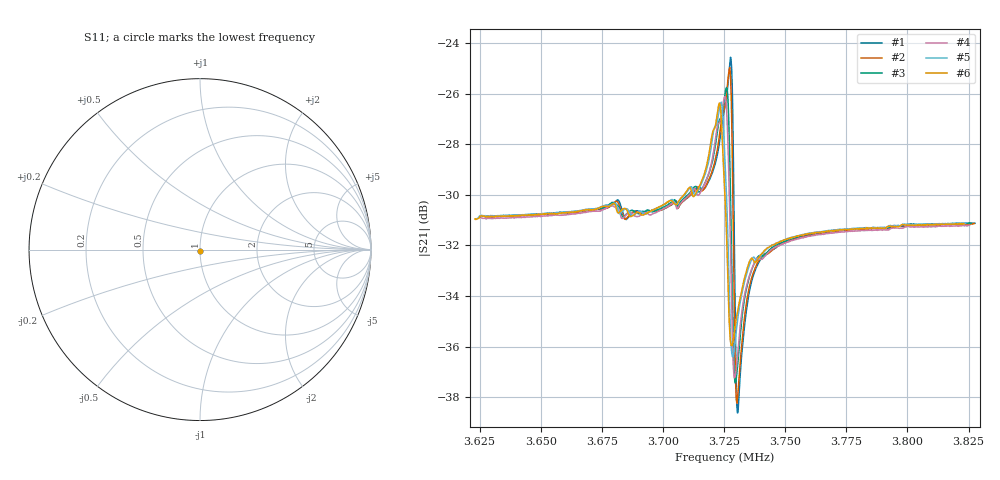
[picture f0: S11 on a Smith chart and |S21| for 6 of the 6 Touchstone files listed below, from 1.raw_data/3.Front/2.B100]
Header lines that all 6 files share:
# Hz S dB R 50.000
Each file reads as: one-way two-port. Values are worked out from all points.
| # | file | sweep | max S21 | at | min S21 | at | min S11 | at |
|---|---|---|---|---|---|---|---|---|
| 1 | B100_30C.s2p | 3.628 MHz to 3.828 MHz | -24.56 dB | 3.728 MHz | -38.6 dB | 3.731 MHz | -43.6 dB | 3.807 MHz |
| 2 | B100_35C.s2p | 3.627 MHz to 3.827 MHz | -24.98 dB | 3.727 MHz | -38.2 dB | 3.73 MHz | -43.6 dB | 3.816 MHz |
| 3 | B100_45C.s2p | 3.626 MHz to 3.826 MHz | -25.76 dB | 3.726 MHz | -37.4 dB | 3.73 MHz | -43.3 dB | 3.801 MHz |
| 4 | B100_50C.s2p | 3.625 MHz to 3.825 MHz | -26.12 dB | 3.725 MHz | -37.2 dB | 3.729 MHz | -43.7 dB | 3.762 MHz |
| 5 | B100_60C.s2p | 3.624 MHz to 3.824 MHz | -26.34 dB | 3.724 MHz | -36.4 dB | 3.728 MHz | -43.9 dB | 3.803 MHz |
| 6 | B100_65C.s2p | 3.623 MHz to 3.823 MHz | -26.37 dB | 3.723 MHz | -36.0 dB | 3.728 MHz | -43.5 dB | 3.822 MHz |
